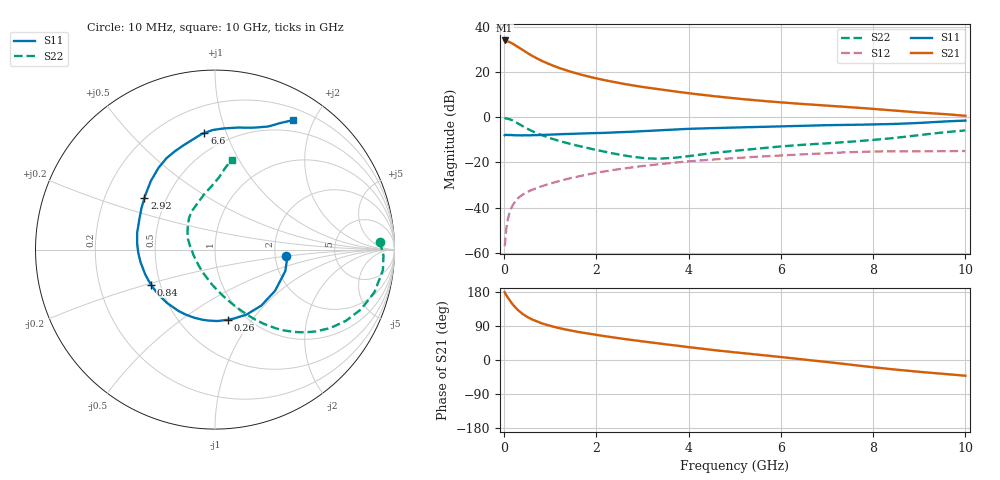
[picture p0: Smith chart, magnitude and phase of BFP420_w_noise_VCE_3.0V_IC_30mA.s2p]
! Infineon Technologies  Discrete & RF Semiconductors
! BFP420
! VCE =  3.0 V,  IC =  30 mA
! Common Emitter S-Parameters:  Jan 2016
# GHz  S  MA  R  50
!  f  S11  S21  S12  S22
! GHz  MAG  ANG  MAG  ANG  MAG  ANG  MAG  ANG
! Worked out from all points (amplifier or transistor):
!   233 points, 10 MHz to 10 GHz, reference 50 ohm
!   highest |S21| = 34.0 dB at 10 MHz (marker M1)
!   |S21| within 3 dB of that: start of sweep to 308.3 MHz
!   unconditionally stable (mu >= 1): 1.561 GHz to end of sweep
!   at 200 MHz: K = 0.31, MSG = 35.4 dB, |S12| = -38.5 dB
!   at 1.74 GHz: K = 1.03, MAG = 21.0 dB, |S12| = -25.6 dB
!   at 10 GHz: K = 1.06, MAG = 6.3 dB, |S12| = -15.0 dB
!   lowest NFmin = 1.51 dB at 900 MHz
!   S11 on the Smith chart (normalised r, x): 10 MHz: 2.30, -0.20; 260 MHz: 0.83, -0.77; 840 MHz: 0.45, -0.21; 2.92 GHz: 0.38, +0.28; 6.6 GHz: 0.37, +0.84; 10 GHz: 0.35, +1.72
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0.01  0.3985 -5.2  49.96 179.1  0.0014 97.2  0.9188 2.8
0.02  0.405 -6.8  48.85 175.9  0.0016 90.7  0.9392 -2.0
0.085  0.4029 -29.2  47.17 163.7  0.0058 78.1  0.9243 -12.6
0.15  0.4048 -50.3  44.45 152.3  0.0095 74.2  0.8792 -22.2
0.2  0.4025 -64.2  41.66 144.6  0.0119 70.6  0.83 -28.6
0.26  0.3977 -79.3  38.03 136.5  0.0146 66.5  0.7675 -35.0
0.3  0.3983 -88.3  35.84 131.6  0.0161 64.6  0.7267 -38.8
0.4  0.3968 -106.5  30.68 121.6  0.0193 61.3  0.6339 -46.3
0.5  0.3978 -120.9  26.42 113.7  0.0221 59.5  0.5573 -52.1
0.6  0.3997 -132.0  23 107.3  0.0246 58.6  0.496 -56.6
0.7  0.4023 -141.1  20.24 102.0  0.0269 58.2  0.4464 -60.4
0.84  0.406 -151.2  17.25 96.0  0.0302 58.0  0.3925 -64.6
1.2  0.4201 -169.8  12.23 84.0  0.0388 57.6  0.2972 -74.9
1.68  0.4368 173.6  8.687 72.5  0.0507 56.0  0.2228 -87.6
2.2  0.4518 159.8  6.528 62.5  0.0638 52.7  0.1705 -103.1
2.92  0.4863 144.0  4.814 50.4  0.0812 46.9  0.1281 -133.8
3.4  0.5158 134.9  4.08 43.1  0.0922 42.3  0.1216 -158.8
5.1  0.5933 111.5  2.554 19.1  0.1266 26.3  0.1848 145.8
6.6  0.6523 95.2  1.921 -0.0  0.153 12.5  0.2506 120.8
6.8  0.6589 93.1  1.861 -2.6  0.1567 10.5  0.257 117.7
8.4  0.707 73.8  1.418 -24.3  0.1748 -7.4  0.3427 94.9
10  0.8424 58.9  1.074 -41.6  0.1787 -19.9  0.5103 79.4
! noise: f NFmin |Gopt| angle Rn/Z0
0.9  1.51  0.26  -155  0.13
1.8  1.78  0.33  -142  0.14
2.4  1.96  0.3  -136  0.18
3  1.98  0.38  -127  0.2
4  2.11  0.47  -111  0.31
5  2.57  0.53  -94  0.51
6  3  0.57  -82  0.74
